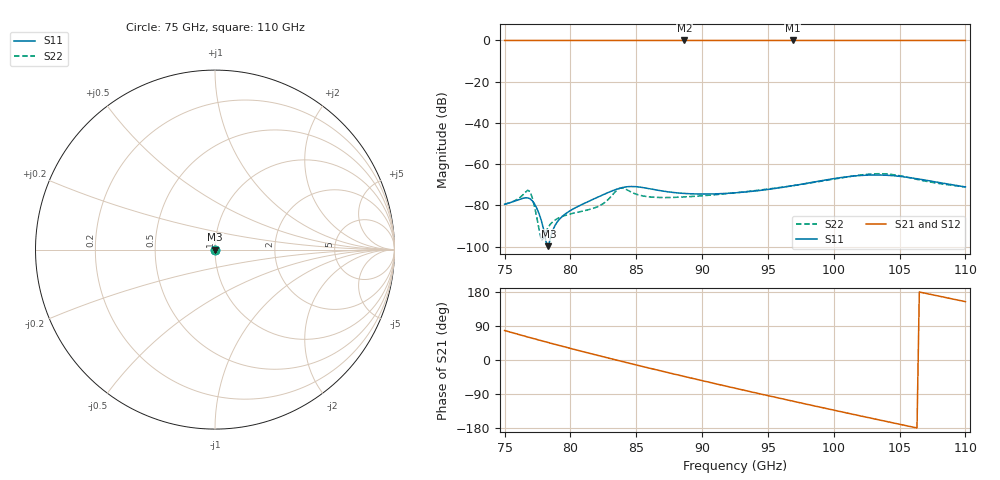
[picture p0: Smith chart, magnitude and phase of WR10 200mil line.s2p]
! Touchstone file from project mwavepy standards
! Exported from HFSS 12.1.0
! Variables:
!  a = 10*10mil
!  b = a/2
!  mil = 10*10mil
!Data is not renormalized
# GHZ S MA
! Modal data exported
! Port[1] = 1:1
! Port[2] = 2:1
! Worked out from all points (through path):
!   201 points, 75 GHz to 110 GHz, reference per port
!   highest |S21| = 0.00 dB at 96.88 GHz (marker M1); lowest = 0.0 dB at 88.65 GHz (marker M2)
!   lowest |S11| = -99.8 dB at 78.33 GHz (marker M3), VSWR 1.00
!   |S11| at or under -10 dB: start of sweep to end of sweep
!   |S22| runs from -97.2 to -64.6 dB; largest |S21 - S12| = 2e-14
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75  0.0001062 50.0  1 77.8  1 77.8  0.0001062 -74.4
! Gamma ! -0 970.06127426939 -0 970.06130525747
! Port Impedance 376.164319824124 0 376.412780778858 0
75.875  0.0001306 59.1  1 69.2  1 69.2  0.0001351 -82.0
76.75  0.000152 91.4  1 60.8  1 60.8  0.0002321 -126.4
76.925  0.0001447 102.9  1 59.1  1 59.1  0.000218 -154.2
77.275  0.0001081 127.7  1 55.8  1 55.8  9.1e-05 165.8
78.325  1.024e-05 -91.2  1 45.9  1 45.9  3.012e-05 -80.0
80.95  0.000108 -38.2  1 22.1  1 22.1  7.277e-05 -86.9
82.35  0.0001734 -60.2  1 9.7  1 9.7  0.0001035 -103.6
83.575  0.0002507 -93.2  1 -0.9  1 -0.9  0.0002415 -95.0
83.925  0.0002694 -105.2  1 -3.9  1 -3.9  0.0002645 -76.2
85.325  0.0002757 -153.9  1 -15.9  1 -15.9  0.0001741 -53.0
86.725  0.00023 171.6  1 -27.6  1 -27.6  0.0001552 -56.7
88.65  0.0001946 141.6  1 -43.5  1 -43.5  0.0001599 -62.1
90.575  0.0001886 120.1  1 -59.1  1 -59.1  0.0001764 -66.4
92.5  0.0002013 101.7  1 -74.4  1 -74.4  0.0002013 -70.5
94.6  0.0002344 81.7  1 -90.9  1 -90.9  0.0002396 -75.2
96.875  0.000299 56.8  1 -108.5  1 -108.5  0.0003001 -81.2
98.45  0.000366 35.9  1 -120.6  1 -120.6  0.0003588 -86.3
101.6  0.0005168 -9.2  1 -144.4  1 -144.4  0.000523 -100.6
104.225  0.0005325 -29.6  1 -163.9  1 -163.9  0.00057 -118.8
107.025  0.0004059 -35.2  1 175.6  1 175.6  0.0003832 -156.8
110  0.0002798 -40.1  1 154.0  1 154.0  0.0002798 168.0
